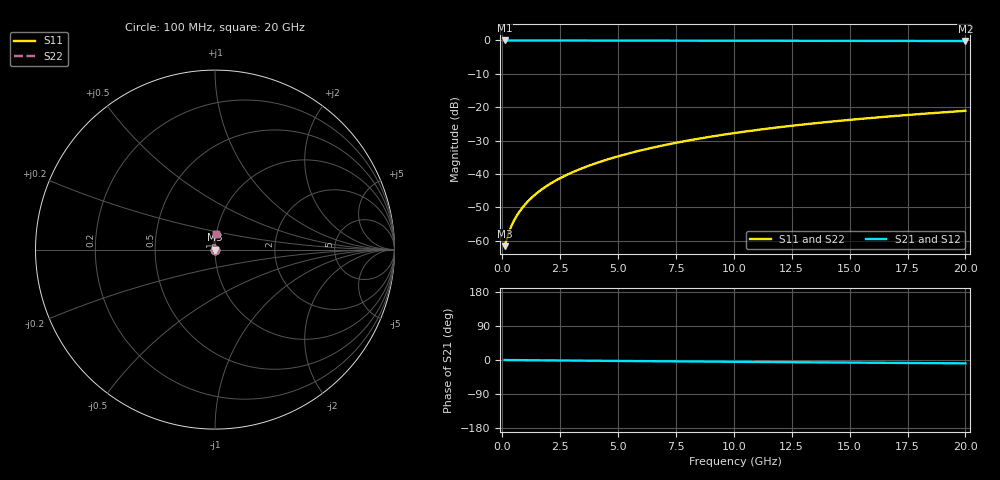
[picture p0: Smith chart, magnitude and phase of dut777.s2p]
! Touchstone file exported from HFSS 2024.1.0
!  File:  C:/UserFiles/LocalFiles/RDL_TSV_Batchsim/temp_RDL_bottom_777_1779860905.aedt
!  Generated:  01:50:54 PM May 27, 2026
!  Design:  RDL_bottom
!  Project:  temp_RDL_bottom_777_1779860905
!  Setup:  Setup1
!  Solution:  Sweep
! Variables:
!  dtsv = 10.80580581um
!  hbump = 3um
!  htsv = 53.6um
!  ldown = 112.17um
!  lrdl = 100um
!  p = 40
!  p1 = 45.41um
!  rhole = 1um
!  t = 450um
!  tdown = 3.22um
!  trdl = 3.915915916um
!  wdown = 27.7um
!  wrdl = 20um
# GHz S MA R 50.000000
! Terminal data exported
! Port[1] = RDL1_T1
! Port[2] = RDL1_T2
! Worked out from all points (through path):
!   200 points, 100 MHz to 20 GHz, reference 50 ohm
!   highest |S21| = -0.01 dB at 100 MHz (marker M1); lowest = -0.2 dB at 20 GHz (marker M2)
!   group delay of S21, straight-line fit = 1.21 ps
!   lowest |S11| = -61.6 dB at 100 MHz (marker M3), VSWR 1.00, Z = 50.1 + j0.0399 ohm
!   |S11| at or under -10 dB: start of sweep to end of sweep
!   |S22| runs from -61.6 to -21.1 dB; largest |S21 - S12| = 5e-15
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0.1  0.0008307 28.7  0.9993 -0.1  0.9993 -0.1  0.0008307 28.7
! Gamma 0 0 0 0
! Port Impedance 50 0 50 0
0.2  0.00109 45.4  0.9992 -0.1  0.9992 -0.1  0.00109 45.4
0.3  0.001384 54.6  0.9992 -0.2  0.9992 -0.2  0.001384 54.6
0.4  0.001685 60.5  0.9991 -0.2  0.9991 -0.2  0.001685 60.5
0.5  0.001986 64.8  0.9991 -0.3  0.9991 -0.3  0.001986 64.8
0.6  0.002291 68.2  0.999 -0.3  0.999 -0.3  0.002291 68.2
0.8  0.002912 73.2  0.999 -0.4  0.999 -0.4  0.002912 73.2
1  0.003549 76.7  0.9989 -0.5  0.9989 -0.5  0.003549 76.7
1.2  0.004199 79.4  0.9988 -0.6  0.9988 -0.6  0.004199 79.4
1.7  0.005872 83.9  0.9985 -0.9  0.9985 -0.9  0.005872 83.9
2.2  0.007606 86.8  0.9982 -1.1  0.9982 -1.1  0.007606 86.8
2.8  0.009764 89.1  0.9977 -1.4  0.9977 -1.4  0.009764 89.1
3.5  0.01239 91.0  0.997 -1.8  0.997 -1.8  0.01239 91.0
4.2  0.01513 92.4  0.9962 -2.1  0.9962 -2.1  0.01513 92.4
5  0.0184 93.3  0.9952 -2.5  0.9952 -2.5  0.0184 93.3
5.9  0.02222 93.9  0.9941 -2.9  0.9941 -2.9  0.02222 93.9
6.8  0.02618 94.2  0.993 -3.3  0.993 -3.3  0.02618 94.2
8.4  0.03345 94.0  0.9911 -4.0  0.9911 -4.0  0.03345 94.0
10.1  0.04138 93.4  0.9891 -4.8  0.9891 -4.8  0.04138 93.4
13.4  0.05705 91.5  0.9858 -6.1  0.9858 -6.1  0.05705 91.5
16.7  0.07275 89.4  0.9829 -7.5  0.9829 -7.5  0.07275 89.4
20  0.08833 87.4  0.9803 -8.8  0.9803 -8.8  0.08833 87.4
